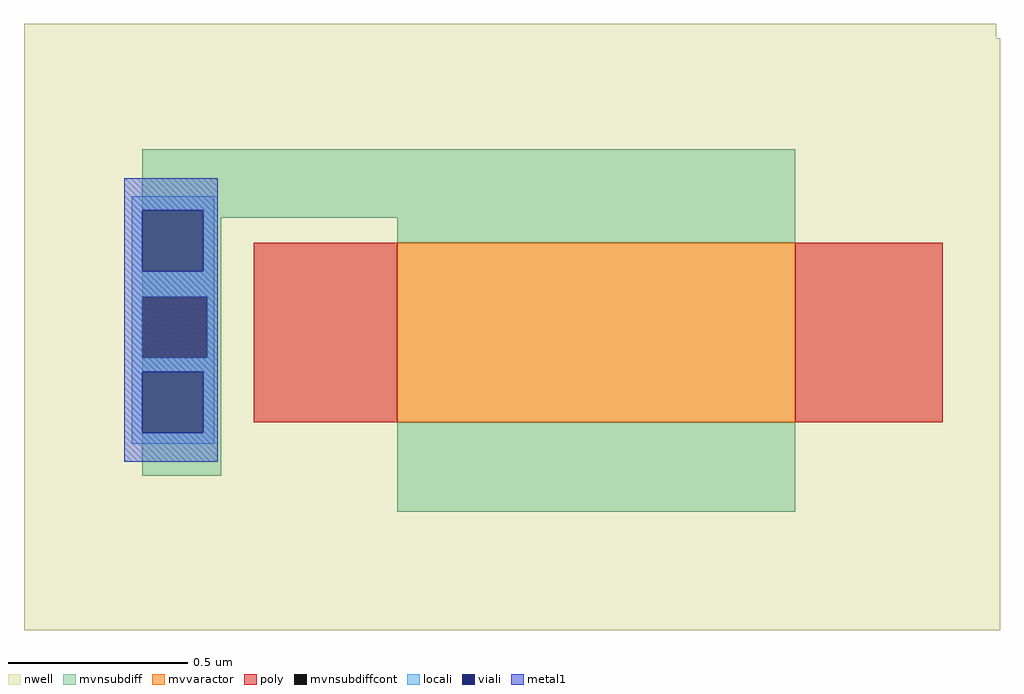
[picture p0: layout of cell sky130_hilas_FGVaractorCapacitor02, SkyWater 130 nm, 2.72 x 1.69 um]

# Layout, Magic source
magic
tech sky130A
<< nwell >>
rect 0 165 271 169
rect 0 0 272 165
<< mvvaractor >>
rect 104 58 215 108
<< mvnsubdiff >>
rect 33 115 215 134
rect 33 93 55 115
rect 104 108 215 115
rect 51 76 55 93
rect 33 43 55 76
rect 104 33 215 58
<< mvnsubdiffcont >>
rect 33 76 51 93
<< poly >>
rect 64 58 104 108
rect 215 58 256 108
<< locali >>
rect 30 117 53 121
rect 30 100 33 117
rect 50 100 53 117
rect 30 93 53 100
rect 30 76 33 93
rect 51 76 53 93
rect 30 72 53 76
rect 30 55 33 72
rect 50 55 53 72
rect 30 52 53 55
<< viali >>
rect 33 100 50 117
rect 33 55 50 72
<< metal1 >>
rect 28 117 54 126
rect 28 100 33 117
rect 50 100 54 117
rect 28 72 54 100
rect 28 55 33 72
rect 50 55 54 72
rect 28 47 54 55
<< properties >>
string LEFsite unithd
string LEFclass CORE
string LEFsymmetry X Y R90
<< end >>
